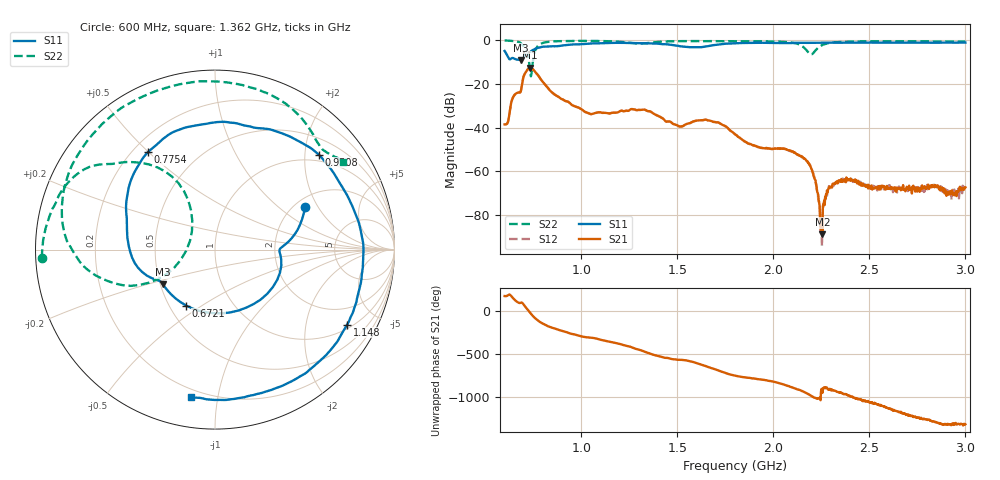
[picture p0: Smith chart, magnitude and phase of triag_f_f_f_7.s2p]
#  HZ  S  RI  R  50.00
! Rohde & Schwarz ZVB8 2Ports - Version 2.81 - 1145.1010k08 SN: 100113
! Date: 2016-05-03 01:38:24
! Measurements: S11 S21 S12 S22
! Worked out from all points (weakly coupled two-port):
!   1000 points, 600 MHz to 3 GHz, reference 50 ohm
!   highest |S21| = -12.71 dB at 732.1 MHz (marker M1); lowest = -88.6 dB at 2.255 GHz (marker M2)
!   lowest |S11| = -9.2 dB at 686.5 MHz (marker M3), VSWR 2.07, Z = 25.8 - j11.3 ohm
!   |S11| at or under -10 dB: nowhere
!   |S22| runs from -16.6 to -0.3 dB; largest |S21 - S12| = 0.004
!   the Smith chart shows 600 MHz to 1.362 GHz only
!   S11 on the Smith chart (normalised r, x): 600 MHz: 2.27, +1.57; 672.1 MHz: 0.61, -0.43; 775.4 MHz: 0.26, +0.50; 950.8 MHz: 0.84, +2.31; 1.148 GHz: 1.16, -3.43; 1.362 GHz: 0.16, -0.84
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6e8  0.502 0.2387  -0.0116 0.0023  -0.0116 0.00228  -0.9645 -0.0467
6.720721e8  -0.1609 -0.3115  -0.00273 0.0631  -0.00272 0.063  -0.8068 0.3854
6.864865e8  -0.2898 -0.193  -0.00434 0.0739  -0.00499 0.0737  -0.6756 0.4678
7.321321e8  -0.4936 0.1946  0.2151 -0.0854  0.2148 -0.0858  -0.1268 0.1633
7.537538e8  -0.4689 0.385  0.0463 -0.1933  0.0491 -0.1931  -0.4213 -0.197
7.753754e8  -0.3719 0.5448  -0.0694 -0.1374  -0.068 -0.1392  -0.7355 -0.089
9.507508e8  0.5778 0.5296  -0.000938 0.0327  -0.001 0.0325  -0.5446 0.7722
1.001201e9  0.7298 0.3141  0.0118 0.0232  0.0115 0.0233  -0.3687 0.868
1.147748e9  0.7366 -0.4175  0.0209 0.000887  0.021 0.000852  0.2041 0.9019
1.361562e9  -0.1339 -0.8205  -0.0172 -0.0151  -0.0173 -0.0152  0.7138 0.4877
1.4e9  -0.296 -0.7604  -0.0176 -0.00546  -0.0176 -0.00544  0.8121 0.383
1.572973e9  -0.5954 -0.3201  -0.00918 0.00944  -0.00919 0.0094  0.892 -0.2827
1.801201e9  -0.785 0.2852  0.00613 -0.00344  0.00606 -0.0034  0.3383 -0.865
1.957357e9  -0.4062 0.7521  0.000564 -0.00331  0.000583 -0.00338  -0.1824 -0.9044
2.108709e9  0.1469 0.8348  -0.00272 -0.000264  -0.00263 -0.000301  -0.6094 -0.5847
2.2e9  0.4894 0.6995  -2.95e-05 0.00111  -0.000139 0.00109  -0.3202 -0.3417
2.255255e9  0.6583 0.5481  -2.49e-05 2.79e-05  -7.12e-05 -2.56e-05  -0.4678 -0.6033
2.293694e9  0.7538 0.4128  -0.000433 4.45e-06  -0.000428 2.33e-05  -0.6302 -0.5674
2.353754e9  0.8403 0.1774  -0.00048 0.00047  -0.000416 0.000486  -0.7827 -0.4315
2.601201e9  0.4609 -0.7283  0.000289 -0.000298  0.00034 -0.000344  -0.9062 0.1781
2.786186e9  -0.2244 -0.8299  -0.000446 -0.000109  -0.000407 -0.000101  -0.7198 0.5687
3e9  -0.7808 -0.3669  -0.000279 0.000331  -0.000295 0.000361  -0.3166 0.8513
